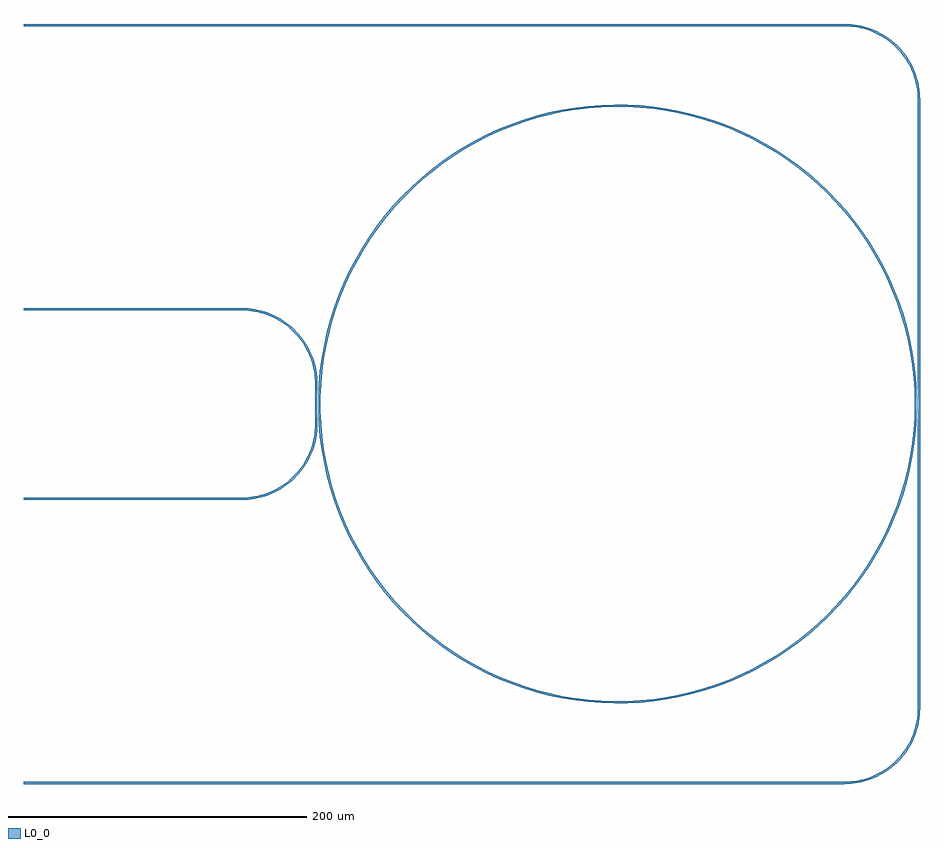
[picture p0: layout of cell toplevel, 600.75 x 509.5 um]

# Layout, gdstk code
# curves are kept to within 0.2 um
from math import pi, radians
import gdstk
lib = gdstk.Library(unit=1e-6, precision=1e-09)
def R(c, l, rs):  # rectangles x0, y0, x1, y1
    for r in rs: c.add(gdstk.rectangle(r[:2], r[2:], *l))
def P(c, l, *ps):  # polygons
    for p in ps: c.add(gdstk.Polygon(p, *l))
L0_0 = (0, 0)

waveguide001 = lib.new_cell('waveguide001')
R(waveguide001, L0_0, [(0,0,550,1.5)])

arc001 = lib.new_cell('arc001')
P(arc001, L0_0, [(49.25,0),(49.052,4.415),(48.459,8.794),(47.475,13.102),(46.11,17.305),(44.373,21.369),(41.103,27.132),(38.505,30.707),(35.598,34.035),(32.403,37.089),(28.948,39.844),(25.26,42.279),(21.369,44.373),(15.219,46.84),(10.959,48.015),(4.415,49.052),(0,49.25),(0,50.75),(4.549,50.546),(11.293,49.478),(15.683,48.266),(19.946,46.666),(24.049,44.69),(27.958,42.355),(31.642,39.678),(36.682,35.071),(39.678,31.642),(42.355,27.958),(45.724,22.02),(47.514,17.832),(49.478,11.293),(50.546,4.549),(50.75,0)])

waveguide002 = lib.new_cell('waveguide002')
R(waveguide002, L0_0, [(0,0,1.5,408)])

c_band001 = lib.new_cell('c_band001')
c_band001.add(gdstk.Reference(waveguide001, (0,253.25)))
c_band001.add(gdstk.Reference(waveguide001, (0,-254.75)))
c_band001.add(gdstk.Reference(arc001, (550,204)))
c_band001.add(gdstk.Reference(arc001, (550,-204), rotation=3*pi/2))
c_band001.add(gdstk.Reference(waveguide002, (599.25,-204)))

waveguide003 = lib.new_cell('waveguide003')
R(waveguide003, L0_0, [(0,0,146,1.5)])

arc002 = lib.new_cell('arc002')
P(arc002, L0_0, [(49.25,0),(49.052,4.415),(48.459,8.794),(47.475,13.102),(46.11,17.305),(44.373,21.369),(41.103,27.132),(38.505,30.707),(35.598,34.035),(32.403,37.089),(28.948,39.844),(25.26,42.279),(21.369,44.373),(15.219,46.84),(10.959,48.015),(4.415,49.052),(0,49.25),(0,50.75),(4.549,50.546),(11.293,49.478),(15.683,48.266),(19.946,46.666),(24.049,44.69),(27.958,42.355),(31.642,39.678),(36.682,35.071),(39.678,31.642),(42.355,27.958),(45.724,22.02),(47.514,17.832),(49.478,11.293),(50.546,4.549),(50.75,0)])

waveguide004 = lib.new_cell('waveguide004')
R(waveguide004, L0_0, [(0,0,1.5,27)])

c_band002 = lib.new_cell('c_band002')
c_band002.add(gdstk.Reference(waveguide003, (0,62.75)))
c_band002.add(gdstk.Reference(waveguide003, (0,-64.25)))
c_band002.add(gdstk.Reference(arc002, (146,13.5)))
c_band002.add(gdstk.Reference(arc002, (146,-13.5), rotation=3*pi/2))
c_band002.add(gdstk.Reference(waveguide004, (195.25,-13.5)))

ring001 = lib.new_cell('ring001')
P(ring001, L0_0, [(597.25,0),(597.058,8.752),(596.481,17.487),(595.521,26.188),(594.181,34.839),(592.461,43.422),(590.366,51.922),(587.9,60.321),(585.067,68.604),(581.873,76.755),(578.324,84.757),(574.427,92.596),(570.19,100.256),(565.62,107.723),(560.726,114.981),(555.519,122.018),(550.007,128.819),(544.202,135.372),(538.115,141.663),(531.757,147.68),(525.142,153.413),(518.28,158.85),(511.187,163.98),(503.875,168.793),(496.359,173.28),(488.653,177.434),(480.771,181.244),(472.731,184.705),(464.545,187.809),(456.232,190.551),(447.806,192.925),(439.284,194.926),(430.682,196.551),(422.017,197.797),(413.306,198.661),(404.565,199.142),(395.811,199.238),(387.062,198.95),(378.334,198.277),(369.644,197.222),(361.008,195.786),(352.444,193.972),(343.968,191.784),(335.596,189.226),(327.345,186.302),(319.23,183.019),(311.267,179.382),(303.472,175.399),(295.859,171.078),(288.443,166.426),(281.238,161.454),(274.259,156.169),(267.519,150.583),(261.031,144.706),(254.807,138.551),(248.859,132.127),(243.2,125.449),(237.839,118.528),(232.787,111.379),(228.054,104.015),(223.65,96.449),(219.581,88.698),(215.858,80.776),(212.485,72.697),(209.471,64.478),(206.821,56.135),(204.54,47.684),(202.632,39.14),(201.101,30.521),(199.951,21.843),(199.183,13.123),(198.798,4.377),(198.798,-4.377),(199.183,-13.123),(199.951,-21.843),(201.101,-30.521),(202.632,-39.14),(204.54,-47.684),(206.821,-56.135),(209.471,-64.478),(212.485,-72.697),(215.858,-80.776),(219.581,-88.698),(223.65,-96.449),(228.054,-104.015),(232.787,-111.379),(237.839,-118.528),(243.2,-125.449),(248.859,-132.127),(254.807,-138.551),(261.031,-144.706),(267.519,-150.583),(274.259,-156.169),(281.238,-161.454),(288.443,-166.426),(295.859,-171.078),(303.472,-175.399),(311.267,-179.382),(319.23,-183.019),(327.345,-186.302),(335.596,-189.226),(343.968,-191.784),(352.444,-193.972),(361.008,-195.786),(369.644,-197.222),(378.334,-198.277),(387.062,-198.95),(395.811,-199.238),(404.565,-199.142),(413.306,-198.661),(422.017,-197.797),(430.682,-196.551),(439.284,-194.926),(447.806,-192.925),(456.232,-190.551),(464.545,-187.809),(472.731,-184.705),(480.771,-181.244),(488.653,-177.434),(496.359,-173.28),(503.875,-168.793),(511.187,-163.98),(518.28,-158.85),(525.142,-153.413),(531.757,-147.68),(538.115,-141.663),(544.202,-135.372),(550.007,-128.819),(555.519,-122.018),(560.726,-114.981),(565.62,-107.723),(570.19,-100.256),(574.427,-92.596),(578.324,-84.757),(581.873,-76.755),(585.067,-68.604),(587.9,-60.321),(590.366,-51.922),(592.461,-43.422),(594.181,-34.839),(595.521,-26.188),(596.481,-17.487),(597.058,-8.752),(597.25,0),(598.75,0),(598.556,-8.818),(597.975,-17.619),(597.008,-26.385),(595.657,-35.101),(593.925,-43.749),(591.814,-52.313),(589.329,-60.775),(586.475,-69.121),(583.257,-77.333),(579.682,-85.395),(575.755,-93.293),(571.486,-101.011),(566.882,-108.534),(561.951,-115.847),(556.705,-122.937),(551.152,-129.789),(545.303,-136.391),(539.17,-142.729),(532.764,-148.792),(526.099,-154.568),(519.186,-160.045),(512.039,-165.214),(504.672,-170.064),(497.099,-174.585),(489.335,-178.769),(481.395,-182.609),(473.293,-186.095),(465.046,-189.223),(456.67,-191.985),(448.181,-194.377),(439.594,-196.394),(430.928,-198.031),(422.198,-199.286),(413.421,-200.157),(404.614,-200.641),(395.795,-200.738),(386.98,-200.447),(378.186,-199.77),(369.43,-198.707),(360.73,-197.26),(352.101,-195.433),(343.561,-193.228),(335.127,-190.65),(326.813,-187.705),(318.637,-184.397),(310.614,-180.733),(302.76,-176.72),(295.09,-172.366),(287.618,-167.679),(280.359,-162.669),(273.328,-157.345),(266.537,-151.717),(260,-145.796),(253.729,-139.594),(247.736,-133.122),(242.034,-126.393),(236.633,-119.421),(231.543,-112.217),(226.775,-104.798),(222.337,-97.175),(218.238,-89.366),(214.486,-81.384),(211.089,-73.244),(208.052,-64.964),(205.382,-56.558),(203.083,-48.043),(201.161,-39.435),(199.619,-30.751),(198.46,-22.007),(197.686,-13.221),(197.298,-4.41),(197.298,4.41),(197.686,13.221),(198.46,22.007),(199.619,30.751),(201.161,39.435),(203.083,48.043),(205.382,56.558),(208.052,64.964),(211.089,73.244),(214.486,81.384),(218.238,89.366),(222.337,97.175),(226.775,104.798),(231.543,112.217),(236.633,119.421),(242.034,126.393),(247.736,133.122),(253.729,139.594),(260,145.796),(266.537,151.717),(273.328,157.345),(280.359,162.669),(287.618,167.679),(295.09,172.366),(302.76,176.72),(310.614,180.733),(318.637,184.397),(326.813,187.705),(335.127,190.65),(343.561,193.228),(352.101,195.433),(360.73,197.26),(369.43,198.707),(378.186,199.77),(386.98,200.447),(395.795,200.738),(404.614,200.641),(413.421,200.157),(422.198,199.286),(430.928,198.031),(439.594,196.394),(448.181,194.377),(456.67,191.985),(465.046,189.223),(473.293,186.095),(481.395,182.609),(489.335,178.769),(497.099,174.585),(504.672,170.064),(512.039,165.214),(519.186,160.045),(526.099,154.568),(532.764,148.792),(539.17,142.729),(545.303,136.391),(551.152,129.789),(556.705,122.937),(561.951,115.847),(566.882,108.534),(571.486,101.011),(575.755,93.293),(579.682,85.395),(583.257,77.333),(586.475,69.121),(589.329,60.775),(591.814,52.313),(593.925,43.749),(595.657,35.101),(597.008,26.385),(597.975,17.619),(598.556,8.818),(598.75,0)])

toplevel = lib.new_cell('toplevel')
toplevel.add(gdstk.Reference(c_band001, (0,0)))
toplevel.add(gdstk.Reference(c_band002, (0,0)))
toplevel.add(gdstk.Reference(ring001, (0,0)))

lib.write_gds('toplevel.gds')
